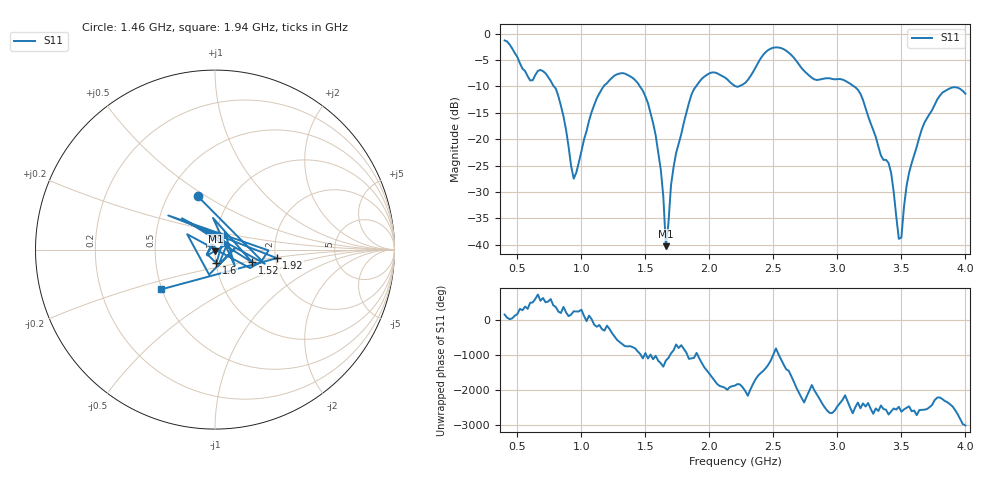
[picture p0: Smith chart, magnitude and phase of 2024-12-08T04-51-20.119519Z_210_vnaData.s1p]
!Created with skrf (http://scikit-rf.org).
# Hz S RI R 50.0
!freq ReS11 ImS11
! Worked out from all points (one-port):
!   181 points, 400 MHz to 4 GHz, reference 50 ohm
!   lowest |S11| = -40.2 dB at 1.66 GHz (marker M1), VSWR 1.02, Z = 50.2 - j0.946 ohm
!   |S11| at or under -10 dB: 785.9 MHz to 1.173 GHz (387.6 MHz wide, 39.6 % of centre); 1.457 GHz to 1.895 GHz (437.9 MHz wide, 26.1 % of centre); 3.13 GHz to end of sweep (the widest 3 of 4)
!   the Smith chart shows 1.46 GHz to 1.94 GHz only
!   S11 on the Smith chart (normalised r, x): 1.46 GHz: 0.70, +0.46; 1.52 GHz: 1.50, -0.23; 1.6 GHz: 1.00, -0.15; 1.92 GHz: 2.04, -0.22; 1.94 GHz: 0.50, -0.25
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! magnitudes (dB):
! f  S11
! 400 MHz  -1.3
! 600 MHz  -8.9
! 720 MHz  -7.5
! 860 MHz  -15.7
! 940 MHz  -27.5
! 1.12 GHz  -12.3
! 1.3 GHz  -7.5
! 1.46 GHz  -10.1
! 1.52 GHz  -13.2
! 1.6 GHz  -22.4
! 1.64 GHz  -30.8
! 1.66 GHz  -40.2
! 1.7 GHz  -28.7
! 1.76 GHz  -20.8
! 1.92 GHz  -9.2
! 1.94 GHz  -8.6
! 2.2 GHz  -9.9
! 2.48 GHz  -2.8
! 2.66 GHz  -4.6
! 2.82 GHz  -8.7
! 3.1 GHz  -9.5
! 3.4 GHz  -24.5
! 3.48 GHz  -38.9
! 3.5 GHz  -38.6
! 3.56 GHz  -26.3
! 3.66 GHz  -18.1
! 3.8 GHz  -11.8
! 4 GHz  -11.4
